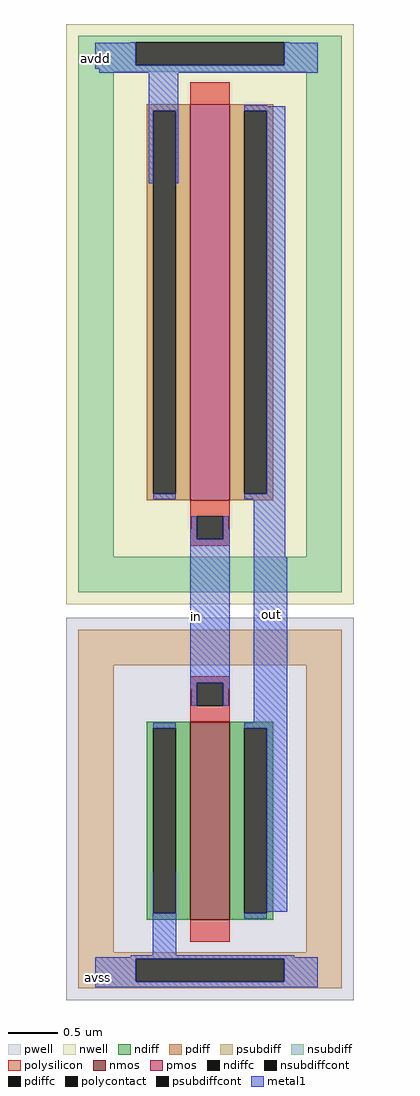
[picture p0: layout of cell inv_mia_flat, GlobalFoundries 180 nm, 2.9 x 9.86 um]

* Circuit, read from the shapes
.subckt inv_mia_flat avdd avss in out
XM1 out in avss avss nfet_03v3 w=2u l=0.4u
XM2 out in avdd avdd pfet_03v3 w=4u l=0.4u
.ends

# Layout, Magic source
magic
tech gf180mcuD
magscale 1 10
<< nwell >>
rect 5150 -850 5730 322
<< pwell >>
rect 5150 -1650 5730 -878
<< nmos >>
rect 5400 -1488 5480 -1088
<< pmos >>
rect 5400 -640 5480 160
<< ndiff >>
rect 5312 -1101 5400 -1088
rect 5312 -1475 5325 -1101
rect 5371 -1475 5400 -1101
rect 5312 -1488 5400 -1475
rect 5480 -1101 5568 -1088
rect 5480 -1475 5509 -1101
rect 5555 -1475 5568 -1101
rect 5480 -1488 5568 -1475
<< pdiff >>
rect 5312 147 5400 160
rect 5312 -627 5325 147
rect 5371 -627 5400 147
rect 5312 -640 5400 -627
rect 5480 147 5568 160
rect 5480 -627 5509 147
rect 5555 -627 5568 147
rect 5480 -640 5568 -627
<< ndiffc >>
rect 5325 -1475 5371 -1101
rect 5509 -1475 5555 -1101
<< pdiffc >>
rect 5325 -627 5371 147
rect 5509 -627 5555 147
<< psubdiff >>
rect 5174 -974 5706 -902
rect 5174 -1554 5246 -974
rect 5634 -1554 5706 -974
rect 5174 -1567 5706 -1554
rect 5174 -1613 5290 -1567
rect 5590 -1613 5706 -1567
rect 5174 -1626 5706 -1613
<< nsubdiff >>
rect 5174 285 5706 298
rect 5174 239 5290 285
rect 5590 239 5706 285
rect 5174 226 5706 239
rect 5174 -754 5246 226
rect 5634 -754 5706 226
rect 5174 -826 5706 -754
<< psubdiffcont >>
rect 5290 -1613 5590 -1567
<< nsubdiffcont >>
rect 5290 239 5590 285
<< polysilicon >>
rect 5400 160 5480 204
rect 5400 -673 5480 -640
rect 5400 -719 5413 -673
rect 5467 -719 5480 -673
rect 5400 -732 5480 -719
rect 5400 -1009 5480 -996
rect 5400 -1055 5413 -1009
rect 5467 -1055 5480 -1009
rect 5400 -1088 5480 -1055
rect 5400 -1532 5480 -1488
<< polycontact >>
rect 5413 -719 5467 -673
rect 5413 -1055 5467 -1009
<< metal1 >>
rect 5279 284 5290 285
rect 5208 239 5290 284
rect 5590 284 5601 285
rect 5590 239 5658 284
rect 5208 232 5658 239
rect 5216 224 5658 232
rect 5316 147 5376 224
rect 5316 0 5325 147
rect 5371 0 5376 147
rect 5509 156 5555 158
rect 5509 147 5592 156
rect 5325 -638 5371 -627
rect 5555 -627 5592 147
rect 5509 -638 5592 -627
rect 5402 -700 5413 -673
rect 5400 -719 5413 -700
rect 5467 -700 5478 -673
rect 5467 -719 5480 -700
rect 5400 -1009 5480 -719
rect 5400 -1020 5413 -1009
rect 5402 -1055 5413 -1020
rect 5467 -1020 5480 -1009
rect 5528 -756 5592 -638
rect 5467 -1055 5478 -1020
rect 5528 -1090 5596 -756
rect 5325 -1101 5371 -1090
rect 5324 -1475 5325 -1392
rect 5509 -1101 5596 -1090
rect 5371 -1475 5372 -1392
rect 5324 -1560 5372 -1475
rect 5555 -1472 5596 -1101
rect 5509 -1486 5555 -1475
rect 5280 -1564 5610 -1560
rect 5208 -1567 5658 -1564
rect 5208 -1613 5290 -1567
rect 5590 -1613 5658 -1567
rect 5208 -1624 5658 -1613
<< labels >>
rlabel metal1 5208 252 5208 252 7 avdd
port 0 w
rlabel metal1 5212 -1604 5212 -1604 7 avss
port 1 w
rlabel metal1 5412 -876 5412 -876 7 in
port 2 w
rlabel metal1 5564 -872 5564 -872 7 out
port 3 w
<< end >>
